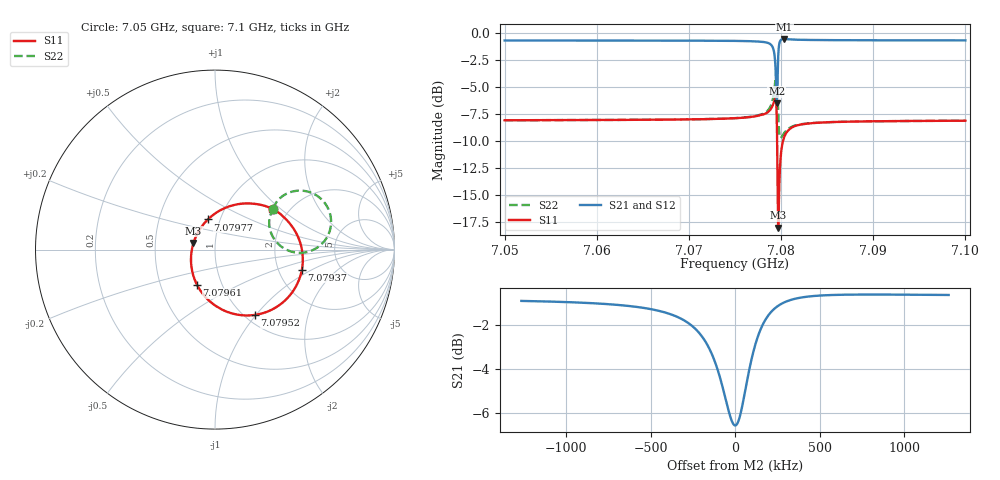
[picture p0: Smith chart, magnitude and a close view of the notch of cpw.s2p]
! Sonnet Data File
! From: em Version : 18.56
! From Project: cpw
! Data is De-embedded
! Data File Written: 06/13/2025 23:42:06
! ->  Created by pysonnet 0.0.4
!< HDATE 06/13/2025 23:19:25
!< MDATE 06/13/2025 23:19:25
# GHZ S RI R 50.00000
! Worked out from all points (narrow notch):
!   848 points, 7.05 GHz to 7.1 GHz, reference 50 ohm
!   highest |S21| = -0.60 dB at 7.08034 GHz (marker M1); lowest = -6.6 dB at 7.07954 GHz (marker M2)
!   notch at M2: 5.7 dB deep, 212 kHz wide at half that depth
!   lowest |S11| = -18.0 dB at 7.07969 GHz (marker M3), VSWR 1.29, Z = 39.2 + j2.94 ohm
!   |S11| at or under -10 dB: 7.079571 GHz to 7.080214 GHz (643.4 kHz wide, 0.00909 % of centre)
!   |S22| runs from -9.7 to -3.5 dB; largest |S21 - S12| = 1e-13
!   S11 on the Smith chart (normalised r, x): 7.05 GHz: 1.66, +0.88; 7.07937 GHz: 2.70, -0.80; 7.07952 GHz: 1.11, -0.99; 7.07961 GHz: 0.76, -0.31; 7.07977 GHz: 0.87, +0.30; 7.1 GHz: 1.64, +0.88
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7.05  0.323 0.2243  0.5282 -0.7526  0.5282 -0.7526  0.3208 0.2275
7.0584  0.3246 0.2236  0.5264 -0.7533  0.5264 -0.7533  0.3216 0.2279
7.0668  0.3276 0.222  0.5236 -0.7543  0.5236 -0.7543  0.3227 0.2291
7.075039  0.3394 0.2154  0.5135 -0.7576  0.5135 -0.7576  0.3265 0.2353
7.078595  0.3947 0.17  0.4631 -0.7661  0.4631 -0.7661  0.3456 0.269
7.079114  0.4549 0.0872  0.3886 -0.7571  0.3886 -0.7571  0.3884 0.3059
7.079259  0.4826 0.00847  0.3321 -0.7318  0.3321 -0.7318  0.4316 0.3235
7.079367  0.4841 -0.1116  0.2669 -0.6709  0.2669 -0.6709  0.4987 0.3268
7.079449  0.4122 -0.2607  0.2238 -0.5559  0.2238 -0.5559  0.5831 0.2894
7.079517  0.222 -0.364  0.2653 -0.4011  0.2653 -0.4011  0.644 0.1861
7.079537  0.1407 -0.3648  0.3061 -0.3568  0.3061 -0.3568  0.6464 0.1412
7.079611  -0.1001 -0.1965  0.5189 -0.3134  0.5189 -0.3134  0.5599 0.00512
7.079657  -0.1337 -0.0457  0.6177 -0.3718  0.6177 -0.3718  0.4772 -0.0179
7.079688  -0.1199 0.0369  0.6555 -0.4215  0.6555 -0.4215  0.4308 -0.0126
7.079771  -0.0397 0.1681  0.6856 -0.532  0.6856 -0.532  0.3556 0.0285
7.07985  0.0322 0.2206  0.6771 -0.5978  0.6771 -0.5978  0.3246 0.0673
7.079958  0.0997 0.2469  0.6564 -0.6478  0.6564 -0.6478  0.3085 0.1043
7.080342  0.2063 0.2564  0.6058 -0.7096  0.6058 -0.7096  0.3024 0.1631
7.0814  0.2758 0.2444  0.561 -0.7388  0.561 -0.7388  0.3124 0.1998
7.083388  0.3002 0.2354  0.5436 -0.7473  0.5436 -0.7473  0.3168 0.2134
7.0918  0.3158 0.2283  0.5314 -0.7522  0.5314 -0.7522  0.3207 0.2214
7.1  0.319 0.2268  0.5284 -0.7534  0.5284 -0.7534  0.3218 0.2227
